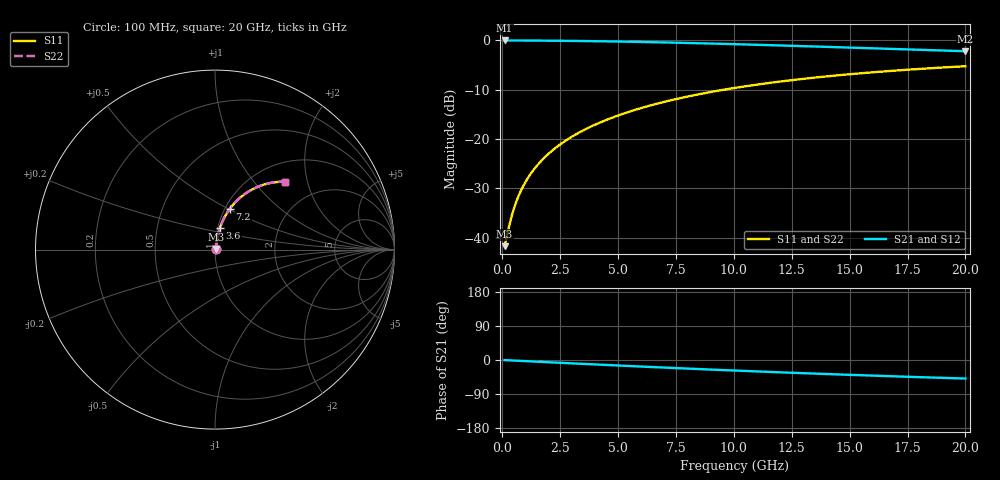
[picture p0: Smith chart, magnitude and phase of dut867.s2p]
! Touchstone file exported from HFSS 2024.1.0
!  File:  C:/UserFiles/LocalFiles/RDL_TSV_Batchsim/temp_RDL_bottom_867_1779864874.aedt
!  Generated:  02:57:10 PM May 27, 2026
!  Design:  RDL_bottom
!  Project:  temp_RDL_bottom_867_1779864874
!  Setup:  Setup1
!  Solution:  Sweep
! Variables:
!  dtsv = 10.80580581um
!  hbump = 3um
!  htsv = 99.41um
!  ldown = 614.85um
!  lrdl = 100um
!  p = 40
!  p1 = 52.17um
!  rhole = 1um
!  t = 450um
!  tdown = 2.59um
!  trdl = 3.915915916um
!  wdown = 11.49um
!  wrdl = 20um
# GHz S MA R 50.000000
! Terminal data exported
! Port[1] = RDL1_T1
! Port[2] = RDL1_T2
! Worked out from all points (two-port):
!   200 points, 100 MHz to 20 GHz, reference 50 ohm
!   highest |S21| = -0.06 dB at 100 MHz (marker M1); lowest = -2.2 dB at 20 GHz (marker M2)
!   |S21| within 3 dB of the highest: start of sweep to end of sweep
!   lowest |S11| = -41.7 dB at 100 MHz (marker M3), VSWR 1.02, Z = 50.7 + j0.367 ohm
!   |S11| at or under -10 dB: start of sweep to 9.618 GHz
!   |S22| runs from -41.7 to -5.3 dB; largest |S21 - S12| = 2.6e-15
!   S11 on the Smith chart (normalised r, x): 100 MHz: 1.01, +0.01; 3.6 GHz: 1.03, +0.25; 7.2 GHz: 1.05, +0.51; 20 GHz: 1.37, +1.47
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0.1  0.008194 26.2  0.9927 -0.3  0.9927 -0.3  0.008194 26.2
! Gamma 0 0 0 0
! Port Impedance 50 0 50 0
0.3  0.01322 54.9  0.9924 -0.9  0.9924 -0.9  0.01322 54.9
0.4  0.01636 61.5  0.9923 -1.2  0.9923 -1.2  0.01636 61.5
0.6  0.02299 68.8  0.9919 -1.8  0.9919 -1.8  0.02299 68.8
0.7  0.02637 70.9  0.9917 -2.1  0.9917 -2.1  0.02637 70.9
0.9  0.03317 73.7  0.9912 -2.7  0.9912 -2.7  0.03317 73.7
1.2  0.04341 76.0  0.9903 -3.6  0.9903 -3.6  0.04341 76.0
1.4  0.05025 76.9  0.9897 -4.2  0.9897 -4.2  0.05025 76.9
1.7  0.06052 77.7  0.9887 -5.1  0.9887 -5.1  0.06052 77.7
2.2  0.07766 78.1  0.9867 -6.5  0.9867 -6.5  0.07766 78.1
2.8  0.0982 77.9  0.9838 -8.3  0.9838 -8.3  0.09821 77.9
3.5  0.1221 77.1  0.9796 -10.3  0.9796 -10.3  0.1221 77.1
3.6  0.1255 77.0  0.979 -10.6  0.979 -10.6  0.1255 77.0
4.3  0.1491 75.9  0.9739 -12.6  0.9739 -12.6  0.1491 75.9
5  0.1725 74.5  0.9681 -14.5  0.9681 -14.5  0.1725 74.6
6.8  0.231 70.8  0.9503 -19.5  0.9503 -19.5  0.231 70.8
7.2  0.2436 69.9  0.9459 -20.6  0.9459 -20.6  0.2437 69.9
8.6  0.2865 66.8  0.9292 -24.2  0.9292 -24.2  0.2865 66.9
10.1  0.3299 63.5  0.9097 -28.0  0.9097 -28.0  0.33 63.5
13.4  0.4153 56.4  0.8637 -35.7  0.8637 -35.7  0.4154 56.5
16.7  0.4865 49.9  0.8169 -42.7  0.8169 -42.7  0.4866 49.9
20  0.5444 44.0  0.772 -48.9  0.772 -48.9  0.5446 44.0
